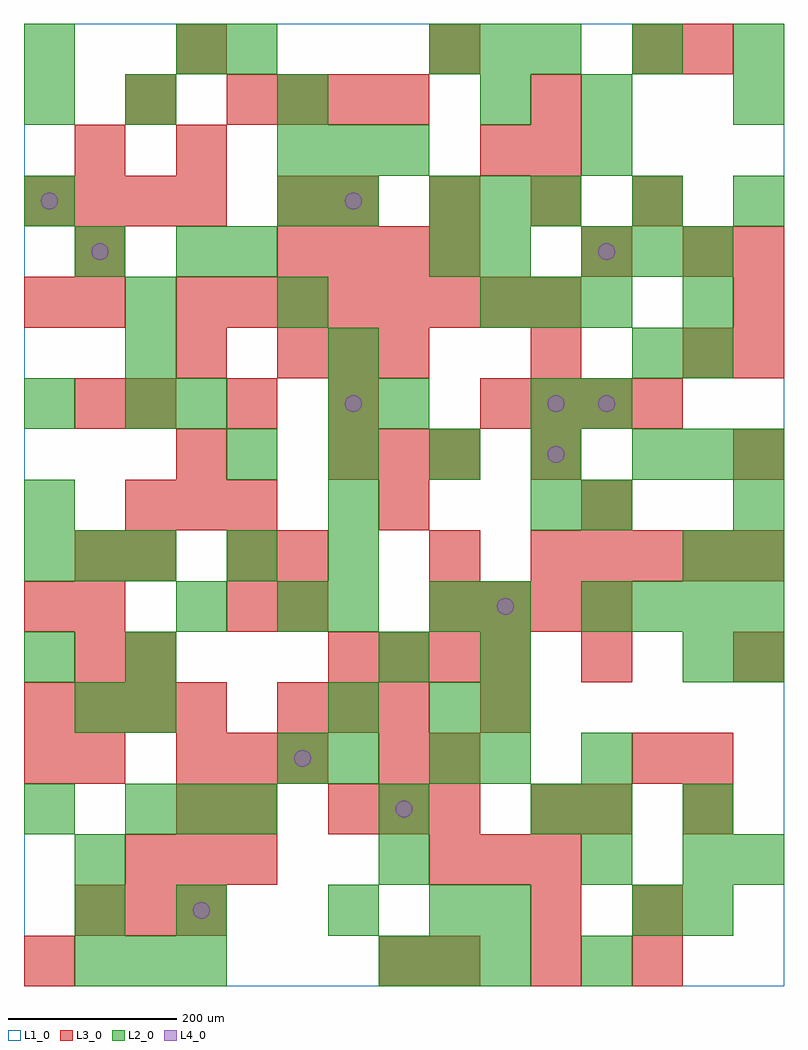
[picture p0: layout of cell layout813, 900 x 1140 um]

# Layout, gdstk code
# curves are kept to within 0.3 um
import gdstk
lib = gdstk.Library(unit=1e-6, precision=1e-09)
def R(c, l, rs):  # rectangles x0, y0, x1, y1
    for r in rs: c.add(gdstk.rectangle(r[:2], r[2:], *l))
def A(c, l, x, y, w, h, nx, ny, dx, dy):  # array of equal rectangles
    R(c, l, [(x+i*dx, y+j*dy, x+i*dx+w, y+j*dy+h) for i in range(nx) for j in range(ny)])
def P(c, l, *ps):  # polygons
    for p in ps: c.add(gdstk.Polygon(p, *l))
L1_0 = (1, 0)
L2_0 = (2, 0)
L3_0 = (3, 0)
L4_0 = (4, 0)

layout813 = lib.new_cell('layout813')
R(layout813, L1_0, [(0,0,900,1140)])
A(layout813, L2_0, 60, 0, 60, 60, 3, 1, 60, 0)
A(layout813, L2_0, 420, 0, 60, 60, 3, 1, 60, 0)
A(layout813, L2_0, 780, 60, 60, 60, 1, 3, 0, 60)
A(layout813, L2_0, 660, 120, 60, 60, 1, 3, 0, 60)
A(layout813, L2_0, 0, 180, 60, 60, 1, 3, 0, 180)
A(layout813, L2_0, 120, 180, 60, 60, 3, 1, 60, 0)
A(layout813, L2_0, 540, 240, 60, 60, 1, 4, 0, 60)
A(layout813, L2_0, 780, 360, 60, 60, 1, 4, 0, 120)
A(layout813, L2_0, 360, 420, 60, 60, 1, 3, 0, 60)
A(layout813, L2_0, 660, 420, 60, 60, 4, 1, 60, 0)
A(layout813, L2_0, 0, 480, 60, 60, 3, 1, 60, 0)
A(layout813, L2_0, 840, 480, 60, 60, 1, 3, 0, 60)
A(layout813, L2_0, 240, 600, 60, 60, 5, 1, 120, 0)
A(layout813, L2_0, 120, 660, 60, 60, 1, 3, 0, 60)
A(layout813, L2_0, 720, 720, 60, 60, 1, 3, 0, 180)
A(layout813, L2_0, 300, 780, 60, 60, 1, 3, 0, 120)
A(layout813, L2_0, 540, 780, 60, 60, 3, 1, 60, 0)
A(layout813, L2_0, 660, 840, 60, 60, 3, 1, 60, 0)
A(layout813, L2_0, 480, 900, 60, 60, 3, 2, 60, 180)
A(layout813, L2_0, 300, 960, 60, 60, 3, 1, 60, 0)
R(layout813, L2_0, [(660,0,720,60), (60,60,120,120), (180,60,240,120), (360,60,420,120), (480,60,540,120), (540,60,600,120), (720,60,780,120), (60,120,120,180), (420,120,480,180), (840,120,900,180), (420,180,480,240), (600,180,660,240), (300,240,360,300), (360,240,420,300), (480,240,540,300), (60,300,120,360), (120,300,180,360), (360,300,420,360), (480,300,540,360), (120,360,180,420), (420,360,480,420), (840,360,900,420), (180,420,240,480), (300,420,360,480), (480,420,540,480), (240,480,300,540), (600,540,660,600), (660,540,720,600), (0,660,60,720), (180,660,240,720), (360,660,420,720), (420,660,480,720), (600,660,660,720), (660,660,720,720), (360,720,420,780), (780,780,840,840), (60,840,120,900), (180,840,240,900), (240,840,300,900), (480,840,540,900), (540,840,600,900), (0,900,60,960), (360,900,420,960), (840,900,900,960), (660,960,720,1020), (0,1020,60,1080), (120,1020,180,1080), (540,1020,600,1080), (660,1020,720,1080), (840,1020,900,1080), (0,1080,60,1140), (180,1080,240,1140), (240,1080,300,1140), (840,1080,900,1140)])
A(layout813, L3_0, 480, 0, 60, 60, 3, 1, 120, 0)
A(layout813, L3_0, 60, 60, 60, 60, 3, 1, 60, 0)
A(layout813, L3_0, 120, 120, 60, 60, 3, 2, 60, 420)
A(layout813, L3_0, 480, 120, 60, 60, 3, 1, 60, 0)
A(layout813, L3_0, 360, 180, 60, 60, 3, 2, 60, 420)
A(layout813, L3_0, 660, 180, 60, 60, 1, 3, 0, 180)
A(layout813, L3_0, 180, 240, 60, 60, 3, 1, 60, 0)
A(layout813, L3_0, 0, 300, 60, 60, 4, 2, 60, 600)
A(layout813, L3_0, 300, 300, 60, 60, 3, 2, 60, 420)
A(layout813, L3_0, 60, 360, 60, 60, 1, 3, 0, 60)
A(layout813, L3_0, 360, 360, 60, 60, 4, 1, 60, 0)
A(layout813, L3_0, 480, 420, 60, 60, 4, 1, 60, 0)
A(layout813, L3_0, 600, 480, 60, 60, 5, 1, 60, 0)
A(layout813, L3_0, 120, 660, 60, 60, 3, 1, 120, 0)
A(layout813, L3_0, 540, 660, 60, 60, 4, 1, 60, 0)
A(layout813, L3_0, 840, 720, 60, 60, 1, 3, 0, 60)
A(layout813, L3_0, 180, 780, 60, 60, 8, 1, 60, 0)
A(layout813, L3_0, 300, 840, 60, 60, 4, 1, 60, 0)
A(layout813, L3_0, 360, 900, 60, 60, 4, 1, 120, 0)
A(layout813, L3_0, 240, 1020, 60, 60, 4, 1, 60, 0)
R(layout813, L3_0, [(0,0,60,60), (420,0,480,60), (600,60,660,120), (720,60,780,120), (180,180,240,240), (240,180,300,240), (600,180,660,240), (780,180,840,240), (0,240,60,300), (60,240,120,300), (420,240,480,300), (480,240,540,300), (720,240,780,300), (780,240,840,300), (540,300,600,360), (120,360,180,420), (840,360,900,420), (0,420,60,480), (240,420,300,480), (300,420,360,480), (120,480,180,540), (240,480,300,540), (300,480,360,540), (480,480,540,540), (420,540,480,600), (180,600,240,660), (600,600,660,660), (840,600,900,660), (60,660,120,720), (180,720,240,780), (600,720,660,780), (780,720,840,780), (0,780,60,840), (60,780,120,840), (60,840,120,900), (660,840,720,900), (780,840,840,900), (300,900,360,960), (60,960,120,1020), (180,960,240,1020), (540,960,600,1020), (600,960,660,1020), (120,1020,180,1080), (600,1020,660,1080), (180,1080,240,1140), (480,1080,540,1140), (720,1080,780,1140), (780,1080,840,1140)])
P(layout813, L4_0, [(40,930),(39.239,933.827),(37.071,937.071),(33.827,939.239),(30,940),(26.173,939.239),(22.929,937.071),(20.761,933.827),(20,930),(20.761,926.173),(22.929,922.929),(26.173,920.761),(30,920),(33.827,920.761),(37.071,922.929),(39.239,926.173)],
  [(100,870),(99.239,873.827),(97.071,877.071),(93.827,879.239),(90,880),(86.173,879.239),(82.929,877.071),(80.761,873.827),(80,870),(80.761,866.173),(82.929,862.929),(86.173,860.761),(90,860),(93.827,860.761),(97.071,862.929),(99.239,866.173)],
  [(220,90),(219.239,93.827),(217.071,97.071),(213.827,99.239),(210,100),(206.173,99.239),(202.929,97.071),(200.761,93.827),(200,90),(200.761,86.173),(202.929,82.929),(206.173,80.761),(210,80),(213.827,80.761),(217.071,82.929),(219.239,86.173)],
  [(340,270),(339.239,273.827),(337.071,277.071),(333.827,279.239),(330,280),(326.173,279.239),(322.929,277.071),(320.761,273.827),(320,270),(320.761,266.173),(322.929,262.929),(326.173,260.761),(330,260),(333.827,260.761),(337.071,262.929),(339.239,266.173)],
  [(400,690),(399.239,693.827),(397.071,697.071),(393.827,699.239),(390,700),(386.173,699.239),(382.929,697.071),(380.761,693.827),(380,690),(380.761,686.173),(382.929,682.929),(386.173,680.761),(390,680),(393.827,680.761),(397.071,682.929),(399.239,686.173)],
  [(400,930),(399.239,933.827),(397.071,937.071),(393.827,939.239),(390,940),(386.173,939.239),(382.929,937.071),(380.761,933.827),(380,930),(380.761,926.173),(382.929,922.929),(386.173,920.761),(390,920),(393.827,920.761),(397.071,922.929),(399.239,926.173)],
  [(460,210),(459.239,213.827),(457.071,217.071),(453.827,219.239),(450,220),(446.173,219.239),(442.929,217.071),(440.761,213.827),(440,210),(440.761,206.173),(442.929,202.929),(446.173,200.761),(450,200),(453.827,200.761),(457.071,202.929),(459.239,206.173)],
  [(580,450),(579.239,453.827),(577.071,457.071),(573.827,459.239),(570,460),(566.173,459.239),(562.929,457.071),(560.761,453.827),(560,450),(560.761,446.173),(562.929,442.929),(566.173,440.761),(570,440),(573.827,440.761),(577.071,442.929),(579.239,446.173)],
  [(640,630),(639.239,633.827),(637.071,637.071),(633.827,639.239),(630,640),(626.173,639.239),(622.929,637.071),(620.761,633.827),(620,630),(620.761,626.173),(622.929,622.929),(626.173,620.761),(630,620),(633.827,620.761),(637.071,622.929),(639.239,626.173)],
  [(640,690),(639.239,693.827),(637.071,697.071),(633.827,699.239),(630,700),(626.173,699.239),(622.929,697.071),(620.761,693.827),(620,690),(620.761,686.173),(622.929,682.929),(626.173,680.761),(630,680),(633.827,680.761),(637.071,682.929),(639.239,686.173)],
  [(700,690),(699.239,693.827),(697.071,697.071),(693.827,699.239),(690,700),(686.173,699.239),(682.929,697.071),(680.761,693.827),(680,690),(680.761,686.173),(682.929,682.929),(686.173,680.761),(690,680),(693.827,680.761),(697.071,682.929),(699.239,686.173)],
  [(700,870),(699.239,873.827),(697.071,877.071),(693.827,879.239),(690,880),(686.173,879.239),(682.929,877.071),(680.761,873.827),(680,870),(680.761,866.173),(682.929,862.929),(686.173,860.761),(690,860),(693.827,860.761),(697.071,862.929),(699.239,866.173)])

lib.write_gds('layout813.gds')
